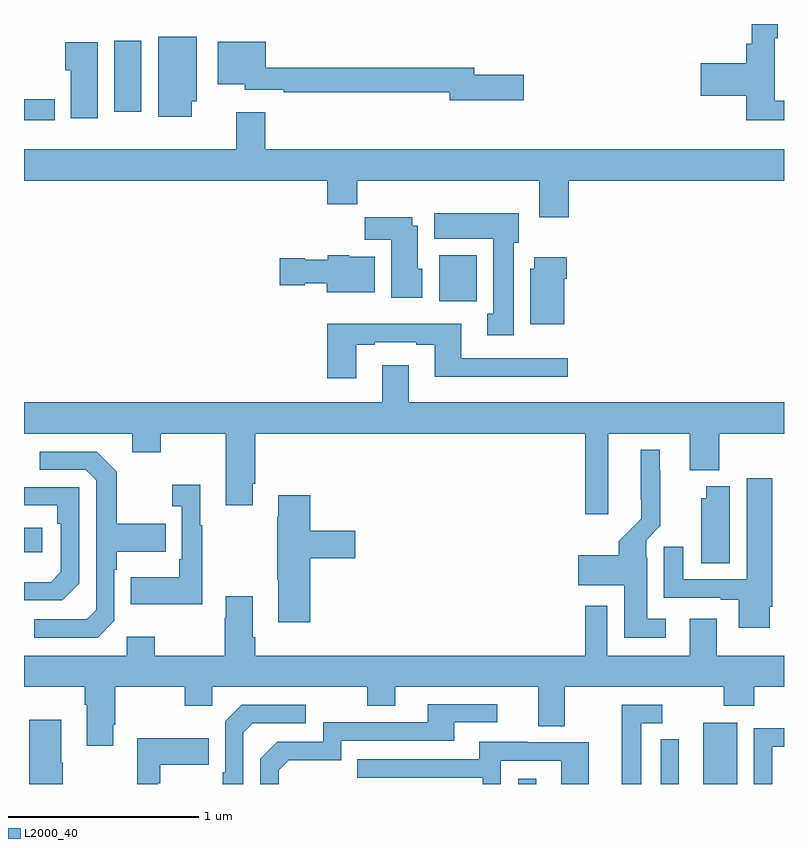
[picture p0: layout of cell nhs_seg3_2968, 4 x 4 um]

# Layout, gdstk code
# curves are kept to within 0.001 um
import gdstk
lib = gdstk.Library(unit=1e-6, precision=1e-09)
def R(c, l, rs):  # rectangles x0, y0, x1, y1
    for r in rs: c.add(gdstk.rectangle(r[:2], r[2:], *l))
def P(c, l, *ps):  # polygons
    for p in ps: c.add(gdstk.Polygon(p, *l))
L2000_40 = (2000, 40)

nhs_seg3_2968 = lib.new_cell('nhs_seg3_2968')
R(nhs_seg3_2968, L2000_40, [(267.6,704.4,267.697,704.428), (268.574,704.4,268.753,704.722), (265,705.62,265.096,705.75), (267.185,706.94,267.382,707.182), (265,707.894,265.162,708.004), (265.475,707.937,265.618,708.313)])
P(nhs_seg3_2968, L2000_40, [(269,707.996),(268.952,707.996),(268.952,708.326),(268.967,708.326),(268.967,708.4),(268.831,708.4),(268.831,708.295),(268.802,708.295),(268.802,708.194),(268.563,708.194),(268.563,708.023),(268.802,708.023),(268.802,707.894),(269,707.894)],
  [(265.882,707.994),(265.909,707.994),(265.909,708.334),(265.706,708.334),(265.706,707.912),(265.882,707.912)],
  [(267.631,708.134),(267.37,708.134),(267.37,708.17),(266.272,708.17),(266.272,708.307),(266.021,708.307),(266.021,708.083),(266.162,708.083),(266.162,708.054),(266.368,708.054),(266.368,708.042),(267.242,708.042),(267.242,707.999),(267.631,707.999)],
  [(265.387,708.304),(265.217,708.304),(265.217,708.157),(265.247,708.157),(265.247,707.904),(265.387,707.904)],
  [(267.866,707.576),(269,707.576),(269,707.74),(266.27,707.74),(266.27,707.935),(266.117,707.935),(266.117,707.74),(265,707.74),(265,707.576),(266.597,707.576),(266.597,707.452),(266.753,707.452),(266.753,707.576),(267.713,707.576),(267.713,707.382),(267.866,707.382)],
  [(267.577,707.25),(267.604,707.25),(267.604,707.404),(267.158,707.404),(267.158,707.27),(267.47,707.27),(267.47,706.874),(267.437,706.874),(267.437,706.761),(267.577,706.761)],
  [(267.097,707.112),(267.073,707.112),(267.073,707.338),(267.043,707.338),(267.043,707.383),(266.794,707.383),(266.794,707.264),(266.933,707.264),(266.933,706.958),(267.097,706.958)],
  [(266.845,707.176),(266.712,707.176),(266.712,707.182),(266.598,707.182),(266.598,707.158),(266.478,707.158),(266.478,707.166),(266.346,707.166),(266.346,707.024),(266.478,707.024),(266.478,707.036),(266.594,707.036),(266.594,706.988),(266.845,706.988)],
  [(267.844,707.06),(267.857,707.06),(267.857,707.173),(267.686,707.173),(267.686,707.112),(267.665,707.112),(267.665,706.82),(267.844,706.82)],
  [(266.749,706.713),(266.845,706.713),(266.845,706.725),(267.065,706.725),(267.065,706.713),(267.161,706.713),(267.161,706.544),(267.862,706.544),(267.862,706.641),(267.301,706.641),(267.301,706.822),(266.597,706.822),(266.597,706.536),(266.749,706.536)],
  [(268.075,706.244),(268.505,706.244),(268.505,706.052),(268.658,706.052),(268.658,706.244),(269,706.244),(269,706.408),(267.025,706.408),(267.025,706.603),(266.885,706.603),(266.885,706.408),(265,706.408),(265,706.244),(265.571,706.244),(265.571,706.145),(265.719,706.145),(265.719,706.244),(266.063,706.244),(266.063,705.867),(266.203,705.867),(266.203,705.979),(266.216,705.979),(266.216,706.244),(267.953,706.244),(267.953,705.819),(268.075,705.819)],
  [(268.378,705.271),(268.279,705.271),(268.279,705.59),(268.275,705.59),(268.275,705.684),(268.349,705.758),(268.349,706.049),(268.345,706.049),(268.345,706.159),(268.247,706.159),(268.248,705.796),(268.13,705.678),(268.13,705.604),(267.918,705.604),(267.918,705.446),(268.16,705.446),(268.16,705.17),(268.378,705.17)],
  [(265.476,705.258),(265.476,705.527),(265.489,705.527),(265.489,705.623),(265.745,705.623),(265.745,705.771),(265.489,705.771),(265.489,706.043),(265.383,706.149),(265.083,706.149),(265.083,706.053),(265.326,706.053),(265.38,705.999),(265.38,705.318),(265.329,705.267),(265.053,705.267),(265.053,705.171),(265.389,705.171)],
  [(268.924,705.334),(268.937,705.334),(268.937,706.009),(268.805,706.009),(268.805,705.477),(268.471,705.477),(268.471,705.649),(268.367,705.649),(268.367,705.381),(268.667,705.381),(268.667,705.369),(268.763,705.369),(268.763,705.222),(268.924,705.222)],
  [(265.939,705.763),(265.927,705.763),(265.927,705.976),(265.779,705.976),(265.779,705.863),(265.83,705.863),(265.83,705.583),(265.818,705.583),(265.818,705.487),(265.561,705.487),(265.561,705.347),(265.939,705.347)],
  [(268.714,705.967),(268.592,705.967),(268.592,705.903),(268.565,705.903),(268.565,705.562),(268.714,705.562)],
  [(265.29,705.456),(265.29,705.963),(265,705.963),(265,705.867),(265.174,705.867),(265.174,705.77),(265.194,705.77),(265.194,705.516),(265.141,705.463),(265,705.463),(265,705.366),(265.2,705.366)],
  [(266.507,705.587),(266.743,705.587),(266.743,705.734),(266.507,705.734),(266.507,705.919),(266.339,705.919),(266.339,705.806),(266.332,705.806),(266.332,705.475),(266.339,705.475),(266.339,705.252),(266.507,705.252)],
  [(265.471,704.713),(265.479,704.713),(265.479,704.912),(265.846,704.912),(265.846,704.813),(265.992,704.813),(265.992,704.912),(266.806,704.912),(266.806,704.813),(266.953,704.813),(266.953,704.912),(267.707,704.912),(267.707,704.704),(267.847,704.704),(267.847,704.912),(268.684,704.912),(268.684,704.813),(268.844,704.813),(268.844,704.912),(269,704.912),(269,705.076),(268.645,705.076),(268.645,705.271),(268.505,705.271),(268.505,705.076),(268.071,705.076),(268.071,705.337),(267.955,705.337),(267.955,705.076),(266.216,705.076),(266.216,705.172),(266.203,705.172),(266.203,705.388),(266.063,705.388),(266.063,705.275),(266.056,705.275),(266.056,705.076),(265.689,705.076),(265.689,705.175),(265.542,705.175),(265.542,705.076),(265,705.076),(265,704.912),(265.319,704.912),(265.319,704.816),(265.331,704.816),(265.331,704.601),(265.471,704.601)],
  [(266.34,704.472),(266.393,704.525),(266.67,704.525),(266.67,704.628),(267.265,704.628),(267.265,704.724),(267.49,704.724),(267.49,704.82),(267.125,704.82),(267.125,704.724),(266.574,704.724),(266.574,704.622),(266.334,704.622),(266.244,704.532),(266.244,704.4),(266.34,704.4)],
  [(266.154,704.67),(266.205,704.721),(266.482,704.721),(266.482,704.817),(266.145,704.817),(266.058,704.73),(266.058,704.461),(266.046,704.461),(266.046,704.4),(266.154,704.4)],
  [(268.249,704.721),(268.36,704.721),(268.36,704.817),(268.145,704.817),(268.145,704.4),(268.249,704.4)],
  [(265.203,704.513),(265.195,704.513),(265.195,704.737),(265.028,704.737),(265.028,704.4),(265.203,704.4)],
  [(268.938,704.595),(269,704.595),(269,704.694),(268.842,704.694),(268.842,704.4),(268.938,704.4)],
  [(265.704,704.405),(265.717,704.405),(265.717,704.501),(265.973,704.501),(265.973,704.641),(265.596,704.641),(265.596,704.4),(265.704,704.4)],
  [(268.445,704.482),(268.446,704.482),(268.446,704.636),(268.35,704.636),(268.35,704.4),(268.445,704.4)],
  [(267.51,704.523),(267.828,704.523),(267.828,704.4),(267.973,704.4),(267.973,704.619),(267.649,704.619),(267.649,704.623),(267.395,704.623),(267.395,704.529),(266.755,704.529),(266.755,704.433),(267.414,704.433),(267.414,704.4),(267.51,704.4)])

lib.write_gds('nhs_seg3_2968.gds')
